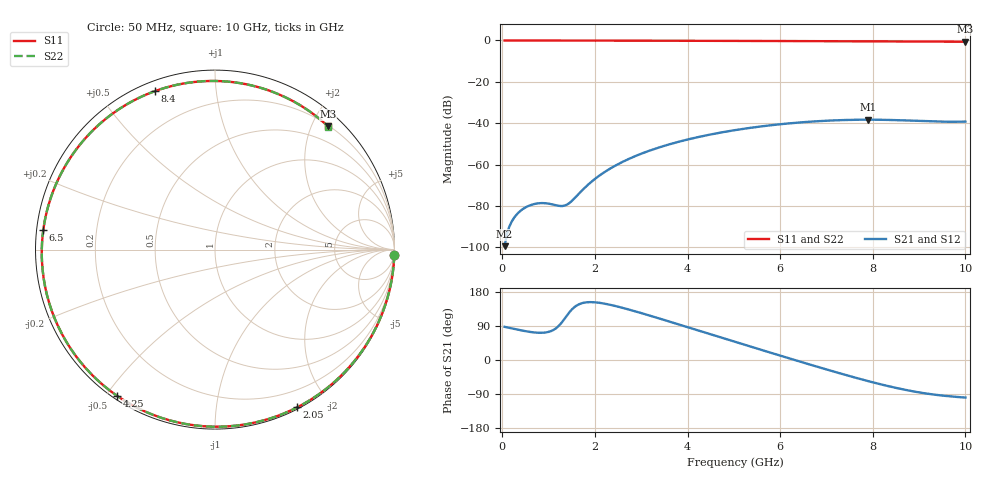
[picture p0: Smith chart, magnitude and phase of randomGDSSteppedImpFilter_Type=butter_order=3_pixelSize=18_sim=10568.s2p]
! freq	dB(S11)	phase(S11)	dB(S12)	phase(S12)
!  dB(S21)	phase(S21)	dB(S22)	phase(S22)
!S-par simulation data
#  GHz  S  DB  R 50
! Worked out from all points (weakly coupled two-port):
!   200 points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, 50 MHz to 10 GHz, reference 50 ohm
!   highest |S21| = -38.30 dB at 7.9 GHz (marker M1); lowest = -99.4 dB at 50 MHz (marker M2)
!   lowest |S11| = -0.6 dB at 10 GHz (marker M3), VSWR 28.30, Z = 10.8 + j113 ohm
!   |S11| at or under -10 dB: nowhere
!   |S22| runs from -0.6 to 0.0 dB; largest |S21 - S12| = 0
!   S11 on the Smith chart (normalised r, x): 50 MHz: 2, -72; 2.05 GHz: 0.02, -1.65; 4.25 GHz: 0.01, -0.53; 6.5 GHz: 0.02, +0.06; 8.4 GHz: 0.04, +0.69; 10 GHz: 0.22, +2.26
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0.05  -0.01 -1.6  -99.42 87.5  -99.42 87.5  -0.01 -1.6
0.55  -0.02 -17.2  -80.14 75.0  -80.14 75.0  -0.02 -17.2
0.85  -0.03 -26.4  -78.61 71.8  -78.61 71.8  -0.03 -26.4
1.35  -0.05 -41.7  -79.80 109.7  -79.80 109.7  -0.05 -41.7
1.5  -0.06 -46.2  -77.59 133.1  -77.59 133.1  -0.06 -46.2
1.75  -0.07 -53.6  -71.86 150.9  -71.86 150.9  -0.07 -53.6
2.05  -0.08 -62.4  -66.08 151.6  -66.08 151.6  -0.08 -62.4
2.65  -0.10 -79.7  -58.11 135.9  -58.11 135.9  -0.10 -79.7
3.4  -0.13 -100.7  -51.61 109.2  -51.61 109.2  -0.13 -100.7
4.25  -0.17 -123.9  -46.60 77.3  -46.60 77.3  -0.17 -123.9
5.05  -0.22 -145.5  -43.26 47.1  -43.26 47.1  -0.22 -145.6
5.8  -0.27 -166.3  -40.99 19.0  -40.99 19.0  -0.27 -166.3
6.5  -0.33 173.5  -39.50 -6.8  -39.50 -6.8  -0.33 173.5
6.7  -0.35 167.5  -39.18 -14.1  -39.18 -14.1  -0.35 167.5
7.3  -0.40 148.8  -38.52 -35.5  -38.52 -35.5  -0.40 148.7
7.9  -0.46 128.6  -38.30 -55.7  -38.30 -55.7  -0.46 128.5
8.35  -0.49 112.5  -38.42 -69.4  -38.42 -69.4  -0.49 112.4
8.4  -0.50 110.7  -38.45 -70.8  -38.45 -70.8  -0.50 110.6
8.8  -0.53 95.6  -38.73 -81.1  -38.73 -81.1  -0.53 95.5
9.2  -0.56 79.9  -39.06 -89.3  -39.06 -89.3  -0.56 79.8
9.6  -0.59 63.8  -39.29 -95.1  -39.29 -95.1  -0.59 63.7
10  -0.61 47.5  -39.22 -99.2  -39.22 -99.2  -0.61 47.3
